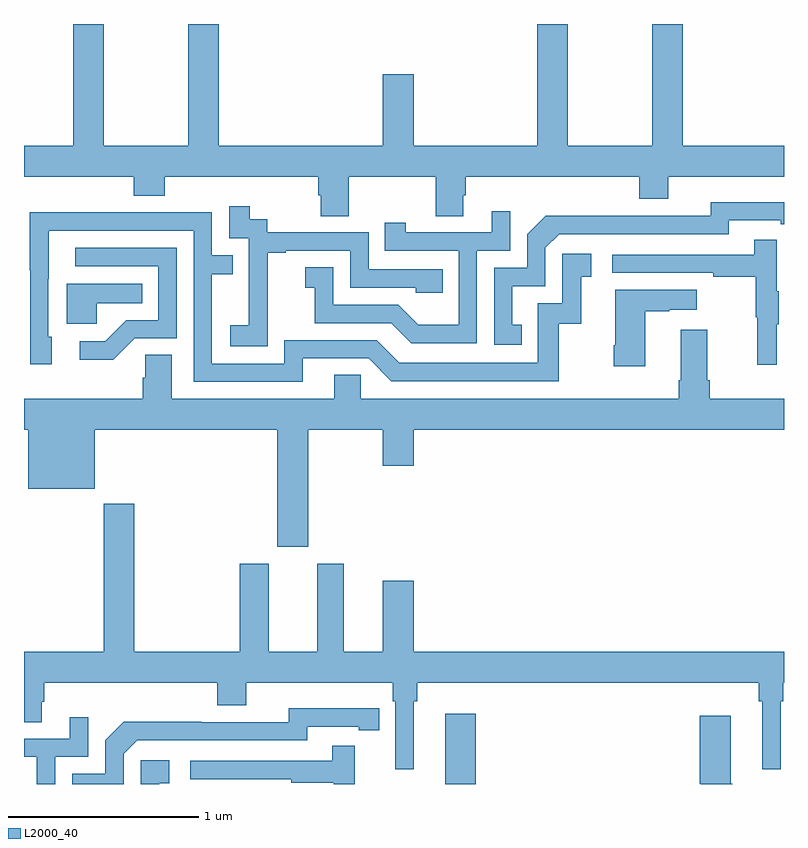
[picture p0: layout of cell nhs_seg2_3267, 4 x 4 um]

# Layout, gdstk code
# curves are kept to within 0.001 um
import gdstk
lib = gdstk.Library(unit=1e-6, precision=1e-09)
def R(c, l, rs):  # rectangles x0, y0, x1, y1
    for r in rs: c.add(gdstk.rectangle(r[:2], r[2:], *l))
def P(c, l, *ps):  # polygons
    for p in ps: c.add(gdstk.Polygon(p, *l))
L2000_40 = (2000, 40)

nhs_seg2_3267 = lib.new_cell('nhs_seg2_3267')
R(nhs_seg2_3267, L2000_40, [(285.218,617.8,285.377,618.169)])
P(nhs_seg2_3267, L2000_40, [(284.709,620.996),(285.166,620.996),(285.166,620.788),(285.313,620.788),(285.313,620.898),(285.326,620.898),(285.326,620.996),(286.238,620.996),(286.238,620.879),(286.39,620.879),(286.39,620.996),(287,620.996),(287,621.16),(286.466,621.16),(286.466,621.8),(286.306,621.8),(286.306,621.16),(285.861,621.16),(285.861,621.8),(285.701,621.8),(285.701,621.16),(285.052,621.16),(285.052,621.535),(284.888,621.535),(284.888,621.16),(284.024,621.16),(284.024,621.8),(283.864,621.8),(283.864,621.16),(283.419,621.16),(283.419,621.8),(283.259,621.8),(283.259,621.16),(283,621.16),(283,620.996),(283.577,620.996),(283.577,620.897),(283.742,620.897),(283.742,620.996),(284.549,620.996),(284.549,620.898),(284.561,620.898),(284.561,620.788),(284.709,620.788)],
  [(285.62,620.217),(285.571,620.217),(285.571,620.421),(285.744,620.421),(285.744,620.622),(285.816,620.694),(286.71,620.694),(286.71,620.766),(286.982,620.766),(286.982,620.746),(287,620.746),(287,620.862),(286.614,620.863),(286.614,620.79),(286.154,620.79),(286.154,620.792),(285.746,620.792),(285.648,620.694),(285.648,620.517),(285.474,620.517),(285.474,620.112),(285.62,620.112)],
  [(284.283,620.311),(284.282,620.311),(284.282,620.595),(284.377,620.595),(284.377,620.607),(284.718,620.607),(284.718,620.412),(285.063,620.412),(285.063,620.385),(285.203,620.385),(285.203,620.508),(284.814,620.508),(284.814,620.703),(284.28,620.703),(284.28,620.772),(284.188,620.772),(284.188,620.842),(284.079,620.842),(284.079,620.673),(284.184,620.673),(284.184,620.444),(284.183,620.444),(284.183,620.215),(284.085,620.215),(284.085,620.105),(284.283,620.105)],
  [(285.384,620.607),(285.558,620.607),(285.558,620.815),(285.461,620.815),(285.461,620.703),(285.01,620.703),(285.01,620.755),(284.899,620.755),(284.899,620.607),(285.288,620.607),(285.288,620.218),(285.074,620.218),(284.97,620.322),(284.628,620.322),(284.628,620.521),(284.481,620.521),(284.481,620.411),(284.53,620.411),(284.53,620.226),(284.933,620.226),(285.038,620.121),(285.384,620.121)],
  [(284.467,620.04),(284.814,620.04),(284.934,619.92),(285.814,619.92),(285.814,620.223),(285.932,620.223),(285.932,620.469),(285.985,620.469),(285.985,620.59),(285.834,620.59),(285.834,620.331),(285.705,620.331),(285.705,620.016),(284.976,620.016),(284.856,620.136),(284.37,620.136),(284.37,620.013),(283.989,620.013),(283.989,620.482),(284.099,620.482),(284.099,620.583),(283.989,620.583),(283.989,620.808),(283.493,620.808),(283.493,620.81),(283.03,620.81),(283.03,620.503),(283.032,620.503),(283.032,620.01),(283.147,620.01),(283.147,620.154),(283.128,620.154),(283.129,620.712),(283.893,620.712),(283.893,619.917),(284.467,619.917)],
  [(286.961,620.219),(286.972,620.219),(286.972,620.393),(286.961,620.393),(286.961,620.665),(286.843,620.665),(286.843,620.586),(286.095,620.586),(286.095,620.49),(286.627,620.49),(286.627,620.47),(286.851,620.47),(286.851,620.256),(286.858,620.256),(286.858,620.007),(286.961,620.007)],
  [(283.584,620.145),(283.803,620.145),(283.803,620.622),(283.269,620.622),(283.269,620.526),(283.707,620.526),(283.707,620.241),(283.538,620.241),(283.427,620.13),(283.293,620.13),(283.293,620.033),(283.471,620.033)],
  [(283.383,620.33),(283.622,620.33),(283.622,620.434),(283.226,620.434),(283.226,620.222),(283.383,620.222)],
  [(286.27,620.287),(286.397,620.287),(286.397,620.297),(286.54,620.297),(286.54,620.401),(286.112,620.401),(286.112,620.11),(286.105,620.11),(286.105,619.998),(286.27,619.998)],
  [(284.772,619.955),(284.633,619.955),(284.633,619.828),(283.777,619.828),(283.777,620.06),(283.638,620.06),(283.638,619.937),(283.625,619.937),(283.625,619.828),(283,619.828),(283,619.664),(283.022,619.664),(283.022,619.355),(283.372,619.355),(283.372,619.664),(284.333,619.664),(284.333,619.05),(284.497,619.05),(284.497,619.664),(284.888,619.664),(284.888,619.476),(285.052,619.476),(285.052,619.664),(287,619.664),(287,619.828),(286.61,619.828),(286.61,619.924),(286.597,619.924),(286.597,620.191),(286.457,620.191),(286.457,619.924),(286.445,619.924),(286.445,619.828),(284.772,619.828)],
  [(285.052,618.236),(285.071,618.236),(285.071,618.332),(286.867,618.332),(286.867,618.236),(286.886,618.236),(286.886,617.877),(286.983,617.877),(286.983,618.236),(286.997,618.236),(286.997,618.332),(287,618.332),(287,618.496),(285.052,618.496),(285.052,618.871),(284.888,618.871),(284.888,618.496),(284.683,618.496),(284.683,618.958),(284.543,618.958),(284.543,618.496),(284.287,618.496),(284.287,618.958),(284.135,618.958),(284.135,618.496),(283.58,618.496),(283.58,619.276),(283.42,619.276),(283.42,618.496),(283,618.496),(283,618.124),(283.093,618.124),(283.093,618.234),(283.106,618.234),(283.106,618.332),(284.018,618.332),(284.018,618.215),(284.17,618.215),(284.17,618.332),(284.942,618.332),(284.942,618.236),(284.955,618.236),(284.955,617.877),(285.052,617.877)],
  [(283.524,617.958),(283.596,618.03),(284.49,618.03),(284.49,618.102),(284.762,618.102),(284.762,618.082),(284.87,618.082),(284.87,618.198),(284.394,618.199),(284.394,618.126),(283.934,618.126),(283.934,618.128),(283.526,618.128),(283.428,618.03),(283.428,617.853),(283.254,617.853),(283.254,617.8),(283.524,617.8)],
  [(286.728,617.802),(286.72,617.802),(286.72,618.16),(286.556,618.16),(286.556,617.802),(286.562,617.802),(286.562,617.8),(286.728,617.8)],
  [(283.164,617.943),(283.338,617.943),(283.338,618.151),(283.241,618.151),(283.241,618.039),(283,618.039),(283,617.943),(283.068,617.943),(283.068,617.8),(283.164,617.8)],
  [(284.741,618.001),(284.623,618.001),(284.623,617.922),(283.875,617.922),(283.875,617.826),(284.407,617.826),(284.407,617.806),(284.631,617.806),(284.631,617.8),(284.741,617.8)],
  [(283.712,617.805),(283.765,617.805),(283.765,617.926),(283.614,617.926),(283.614,617.8),(283.712,617.8)])

lib.write_gds('nhs_seg2_3267.gds')
